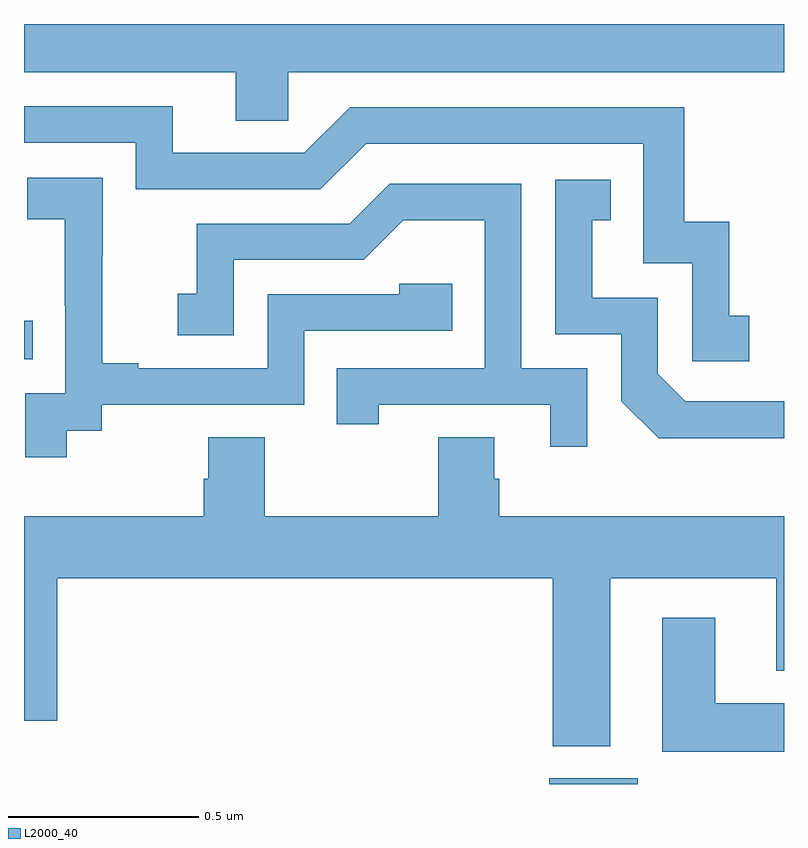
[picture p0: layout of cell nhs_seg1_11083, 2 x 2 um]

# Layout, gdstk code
import gdstk
lib = gdstk.Library(unit=1e-6, precision=1e-09)
def R(c, l, rs):  # rectangles x0, y0, x1, y1
    for r in rs: c.add(gdstk.rectangle(r[:2], r[2:], *l))
def P(c, l, *ps):  # polygons
    for p in ps: c.add(gdstk.Polygon(p, *l))
L2000_40 = (2000, 40)

nhs_seg1_11083 = lib.new_cell('nhs_seg1_11083')
R(nhs_seg1_11083, L2000_40, [(250.382,543.199,250.615,543.214), (249,544.317,249.023,544.418)])
P(nhs_seg1_11083, L2000_40, [(249.696,545.072),(251,545.072),(251,545.199),(249,545.199),(249,545.072),(249.557,545.072),(249.557,544.945),(249.696,544.945)],
  [(250.909,544.431),(250.856,544.431),(250.856,544.678),(250.738,544.678),(250.738,544.98),(249.858,544.98),(249.738,544.86),(249.391,544.86),(249.391,544.983),(249,544.983),(249,544.887),(249.294,544.887),(249.294,544.764),(249.78,544.764),(249.9,544.884),(250.629,544.884),(250.629,544.569),(250.758,544.569),(250.758,544.311),(250.909,544.311)],
  [(249.112,544.129),(249.204,544.129),(249.204,544.197),(249.738,544.197),(249.738,544.392),(250.127,544.392),(250.127,544.515),(249.987,544.515),(249.987,544.488),(249.642,544.488),(249.642,544.293),(249.301,544.293),(249.301,544.306),(249.206,544.306),(249.206,544.589),(249.207,544.589),(249.207,544.795),(249.009,544.795),(249.009,544.685),(249.107,544.685),(249.107,544.457),(249.108,544.457),(249.108,544.227),(249.003,544.227),(249.003,544.059),(249.112,544.059)],
  [(251,544.206),(250.74,544.206),(250.668,544.278),(250.668,544.479),(250.495,544.479),(250.495,544.683),(250.544,544.683),(250.544,544.789),(250.398,544.789),(250.398,544.383),(250.572,544.383),(250.572,544.206),(250.67,544.109),(251,544.109)],
  [(250.482,544.293),(250.308,544.293),(250.308,544.779),(249.962,544.779),(249.857,544.674),(249.454,544.674),(249.454,544.489),(249.405,544.489),(249.405,544.38),(249.552,544.38),(249.552,544.578),(249.894,544.578),(249.998,544.682),(250.212,544.682),(250.212,544.293),(249.823,544.293),(249.823,544.146),(249.934,544.146),(249.934,544.197),(250.385,544.197),(250.385,544.086),(250.482,544.086)],
  [(250.543,543.74),(250.979,543.74),(250.979,543.497),(251,543.497),(251,543.904),(250.25,543.904),(250.25,544.002),(250.237,544.002),(250.237,544.112),(250.09,544.112),(250.09,543.904),(249.633,543.904),(249.633,544.112),(249.485,544.112),(249.485,544.002),(249.473,544.002),(249.473,543.904),(249,543.904),(249,543.366),(249.088,543.366),(249.088,543.74),(250.391,543.74),(250.391,543.299),(250.543,543.299)],
  [(251,543.412),(250.819,543.412),(250.819,543.637),(250.679,543.637),(250.679,543.284),(251,543.284)])

lib.write_gds('nhs_seg1_11083.gds')
